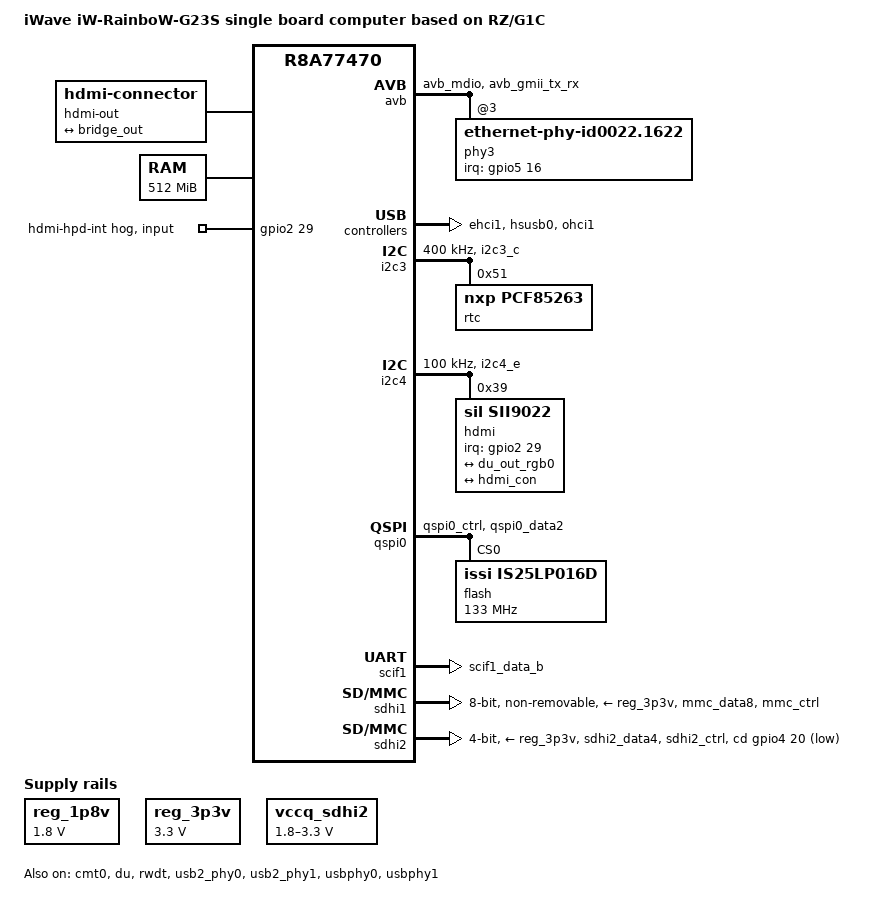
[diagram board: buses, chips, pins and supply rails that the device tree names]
// SPDX-License-Identifier: GPL-2.0
/*
 * Device Tree Source for the iWave-RZ/G1C single board computer
 *
 * Copyright (C) 2018 Renesas Electronics Corp.
 */

/dts-v1/;
#include <dt-bindings/gpio/gpio.h>
#include "r8a77470.dtsi"
/ {
	model = "iWave iW-RainboW-G23S single board computer based on RZ/G1C";
	compatible = "iwave,g23s", "renesas,r8a77470";

	aliases {
		ethernet0 = &avb;
		serial1 = &scif1;
	};

	chosen {
		bootargs = "ignore_loglevel rw root=/dev/nfs ip=on";
		stdout-path = "serial1:115200n8";
	};

	hdmi-out {
		compatible = "hdmi-connector";
		type = "a";

		port {
			hdmi_con: endpoint {
				remote-endpoint = <&bridge_out>;
			};
		};
	};

	memory@40000000 {
		device_type = "memory";
		reg = <0 0x40000000 0 0x20000000>;
	};

	reg_1p8v: reg-1p8v {
		compatible = "regulator-fixed";
		regulator-name = "fixed-1.8V";
		regulator-min-microvolt = <1800000>;
		regulator-max-microvolt = <1800000>;
		regulator-boot-on;
		regulator-always-on;
	};

	reg_3p3v: reg-3p3v {
		compatible = "regulator-fixed";
		regulator-name = "fixed-3.3V";
		regulator-min-microvolt = <3300000>;
		regulator-max-microvolt = <3300000>;
		regulator-boot-on;
		regulator-always-on;
	};

	vccq_sdhi2: regulator-vccq-sdhi2 {
		compatible = "regulator-gpio";

		regulator-name = "SDHI2 VccQ";
		regulator-min-microvolt = <1800000>;
		regulator-max-microvolt = <3300000>;

		gpios = <&gpio2 24 GPIO_ACTIVE_HIGH>;
		gpios-states = <1>;
		states = <3300000 1>, <1800000 0>;
	};
};

&avb {
	pinctrl-0 = <&avb_pins>;
	pinctrl-names = "default";

	phy-handle = <&phy3>;
	phy-mode = "gmii";
	renesas,no-ether-link;
	status = "okay";

	phy3: ethernet-phy@3 {
		compatible = "ethernet-phy-id0022.1622",
			     "ethernet-phy-ieee802.3-c22";
		reg = <3>;
		interrupt-parent = <&gpio5>;
		interrupts = <16 IRQ_TYPE_LEVEL_LOW>;
		micrel,led-mode = <1>;
	};
};

&cmt0 {
	status = "okay";
};

&du {
	pinctrl-0 = <&du0_pins>;
	pinctrl-names = "default";

	status = "okay";

	ports {
		port@0 {
			endpoint {
				remote-endpoint = <&bridge_in>;
			};
		};
	};
};

&ehci1 {
	status = "okay";
};

&extal_clk {
	clock-frequency = <20000000>;
};

&gpio2 {
	interrupt-fixup-hog {
		gpio-hog;
		gpios = <29 GPIO_ACTIVE_HIGH>;
		line-name = "hdmi-hpd-int";
		input;
	};
};

&hsusb0 {
	status = "okay";
};

&i2c3 {
	pinctrl-0 = <&i2c3_pins>;
	pinctrl-names = "default";

	status = "okay";
	clock-frequency = <400000>;

	rtc@51 {
		compatible = "nxp,pcf85263";
		reg = <0x51>;
	};
};

&i2c4 {
	pinctrl-0 = <&i2c4_pins>;
	pinctrl-names = "default";

	status = "okay";
	clock-frequency = <100000>;

	hdmi@39 {
		compatible = "sil,sii9022";
		reg = <0x39>;
		interrupt-parent = <&gpio2>;
		interrupts = <29 IRQ_TYPE_LEVEL_LOW>;

		ports {
			#address-cells = <1>;
			#size-cells = <0>;

			port@0 {
				reg = <0>;
				bridge_in: endpoint {
					remote-endpoint = <&du_out_rgb0>;
				};
			};

			port@1 {
				reg = <1>;
				bridge_out: endpoint {
					remote-endpoint = <&hdmi_con>;
				};
			};
		};
	};
};

&ohci1 {
	status = "okay";
};

&pfc {
	avb_pins: avb {
		groups = "avb_mdio", "avb_gmii_tx_rx";
		function = "avb";
	};

	du0_pins: du0 {
		groups = "du0_rgb888", "du0_sync", "du0_disp", "du0_clk0_out";
		function = "du0";
	};

	i2c4_pins: i2c4 {
		groups = "i2c4_e";
		function = "i2c4";
	};

	i2c3_pins: i2c3 {
		groups = "i2c3_c";
		function = "i2c3";
	};

	mmc_pins_uhs: mmc_uhs {
		groups = "mmc_data8", "mmc_ctrl";
		function = "mmc";
		power-source = <1800>;
	};

	qspi0_pins: qspi0 {
		groups = "qspi0_ctrl", "qspi0_data2";
		function = "qspi0";
	};

	scif1_pins: scif1 {
		groups = "scif1_data_b";
		function = "scif1";
	};

	sdhi2_pins: sd2 {
		groups = "sdhi2_data4", "sdhi2_ctrl";
		function = "sdhi2";
		power-source = <3300>;
	};

	sdhi2_pins_uhs: sd2_uhs {
		groups = "sdhi2_data4", "sdhi2_ctrl";
		function = "sdhi2";
		power-source = <1800>;
	};

	usb0_pins: usb0 {
		groups = "usb0";
		function = "usb0";
	};

	usb1_pins: usb1 {
		groups = "usb1";
		function = "usb1";
	};
};

&qspi0 {
	pinctrl-0 = <&qspi0_pins>;
	pinctrl-names = "default";

	status = "okay";

	/* WARNING - This device contains the bootloader. Handle with care. */
	flash: flash@0 {
		#address-cells = <1>;
		#size-cells = <1>;
		compatible = "issi,is25lp016d", "jedec,spi-nor";
		reg = <0>;
		spi-max-frequency = <133000000>;
		spi-tx-bus-width = <1>;
		spi-rx-bus-width = <1>;
		m25p,fast-read;
		spi-cpol;
		spi-cpha;
	};
};

&rwdt {
	timeout-sec = <60>;
	status = "okay";
};

&scif1 {
	pinctrl-0 = <&scif1_pins>;
	pinctrl-names = "default";

	status = "okay";
};

&sdhi1 {
	pinctrl-0 = <&mmc_pins_uhs>;
	pinctrl-names = "state_uhs";

	vmmc-supply = <&reg_3p3v>;
	vqmmc-supply = <&reg_1p8v>;
	bus-width = <8>;
	mmc-hs200-1_8v;
	non-removable;
	fixed-emmc-driver-type = <1>;
	status = "okay";
};

&sdhi2 {
	pinctrl-0 = <&sdhi2_pins>;
	pinctrl-1 = <&sdhi2_pins_uhs>;
	pinctrl-names = "default", "state_uhs";

	vmmc-supply = <&reg_3p3v>;
	vqmmc-supply = <&vccq_sdhi2>;
	bus-width = <4>;
	cd-gpios = <&gpio4 20 GPIO_ACTIVE_LOW>;
	sd-uhs-sdr50;
	status = "okay";
};

&usb2_phy0 {
	status = "okay";
};

&usb2_phy1 {
	status = "okay";
};

&usbphy0 {
	pinctrl-0 = <&usb0_pins>;
	pinctrl-names = "default";

	status = "okay";
};

&usbphy1 {
	pinctrl-0 = <&usb1_pins>;
	pinctrl-names = "default";

	status = "okay";
};
